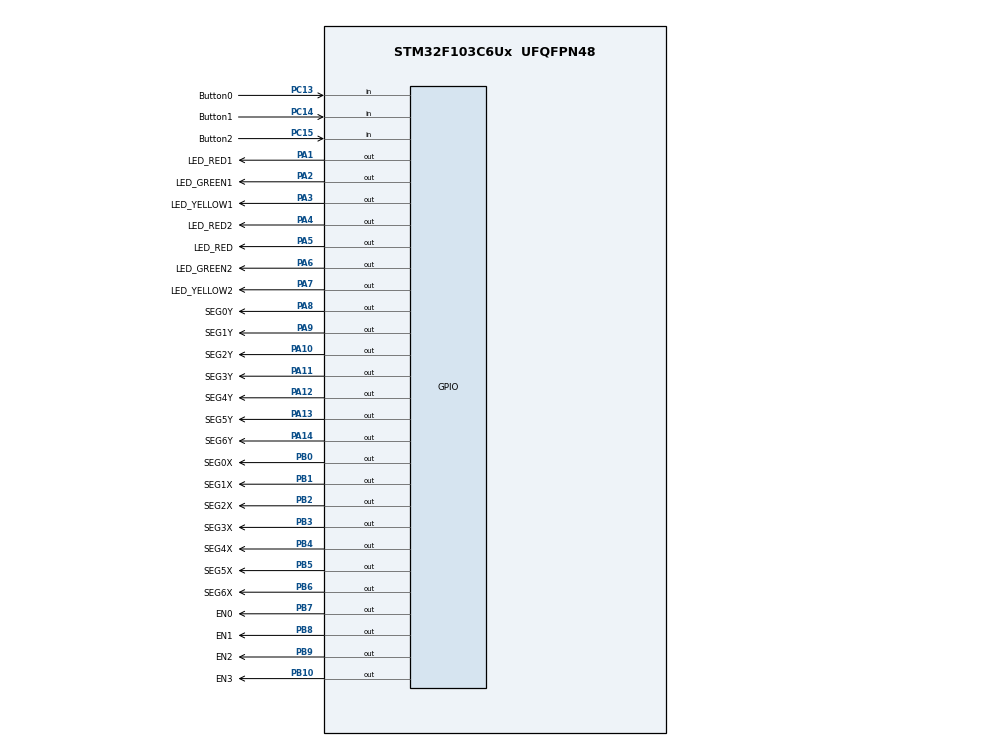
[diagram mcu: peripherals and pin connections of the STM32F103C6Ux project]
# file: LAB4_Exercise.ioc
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Mcu.Family=STM32F1
Mcu.Name=STM32F103C6Ux
Mcu.Package=UFQFPN48
NVIC.PriorityGroup=NVIC_PRIORITYGROUP_4
NVIC.TIM2_IRQn=true\:0\:0\:false\:false\:true\:true\:true
PA1.GPIO_Label=LED_RED1
PA1.Signal=GPIO_Output
PA10.GPIO_Label=SEG2Y
PA10.Signal=GPIO_Output
PA11.GPIO_Label=SEG3Y
PA11.Signal=GPIO_Output
PA12.GPIO_Label=SEG4Y
PA12.Signal=GPIO_Output
PA13.GPIO_Label=SEG5Y
PA13.Signal=GPIO_Output
PA14.GPIO_Label=SEG6Y
PA14.Signal=GPIO_Output
PA2.GPIO_Label=LED_GREEN1
PA2.Signal=GPIO_Output
PA3.GPIO_Label=LED_YELLOW1
PA3.Signal=GPIO_Output
PA4.GPIO_Label=LED_RED2
PA4.Signal=GPIO_Output
PA5.GPIO_Label=LED_RED
PA5.Signal=GPIO_Output
PA6.GPIO_Label=LED_GREEN2
PA6.Signal=GPIO_Output
PA7.GPIO_Label=LED_YELLOW2
PA7.Signal=GPIO_Output
PA8.GPIO_Label=SEG0Y
PA8.Signal=GPIO_Output
PA9.GPIO_Label=SEG1Y
PA9.Signal=GPIO_Output
PB0.GPIO_Label=SEG0X
PB0.Signal=GPIO_Output
PB1.GPIO_Label=SEG1X
PB1.Signal=GPIO_Output
PB10.GPIO_Label=EN3
PB10.Signal=GPIO_Output
PB2.GPIO_Label=SEG2X
PB2.Signal=GPIO_Output
PB3.GPIO_Label=SEG3X
PB3.Signal=GPIO_Output
PB4.GPIO_Label=SEG4X
PB4.Signal=GPIO_Output
PB5.GPIO_Label=SEG5X
PB5.Signal=GPIO_Output
PB6.GPIO_Label=SEG6X
PB6.Signal=GPIO_Output
PB7.GPIO_Label=EN0
PB7.Signal=GPIO_Output
PB8.GPIO_Label=EN1
PB8.Signal=GPIO_Output
PB9.GPIO_Label=EN2
PB9.Signal=GPIO_Output
PC13-TAMPER-RTC.GPIO_Label=Button0
PC13-TAMPER-RTC.GPIO_PuPd=GPIO_PULLUP
PC13-TAMPER-RTC.Signal=GPIO_Input
PC14-OSC32_IN.GPIO_Label=Button1
PC14-OSC32_IN.GPIO_PuPd=GPIO_PULLUP
PC14-OSC32_IN.Signal=GPIO_Input
PC15-OSC32_OUT.GPIO_Label=Button2
PC15-OSC32_OUT.GPIO_PuPd=GPIO_PULLUP
PC15-OSC32_OUT.Signal=GPIO_Input
ProjectManager.HeapSize=0x200
ProjectManager.StackSize=0x400
ProjectManager.TargetToolchain=STM32CubeIDE
RCC.APB1Freq_Value=8000000
RCC.APB2Freq_Value=8000000
TIM2.Period=9
TIM2.Prescaler=7999
VP_SYS_VS_ND.Mode=No_Debug
VP_TIM2_VS_ClockSourceINT.Mode=Internal
board=custom

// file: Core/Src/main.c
/* USER CODE BEGIN Header */
/**
  ******************************************************************************
  * @file           : main.c
  * @brief          : Main program body
  ******************************************************************************
  * @attention
  *
  * <h2><center>&copy; Copyright (c) 2024 STMicroelectronics.
  * All rights reserved.</center></h2>
  *
  * This software component is licensed by ST under BSD 3-Clause license,
  * the "License"; You may not use this file except in compliance with the
  * License. You may obtain a copy of the License at:
  *                        opensource.org/licenses/BSD-3-Clause
  *
  ******************************************************************************
  */
/* USER CODE END Header */
#include "main.h"

/* USER CODE BEGIN Includes */
#include "scheduler.h"
#include "button.h"
#include "fsm_automatic.h"
#include "fsm_manual.h"
#include "fsm_setting.h"
#include "global.h"
#include "software_timer.h"
/* USER CODE END Includes */

TIM_HandleTypeDef htim2;

void SystemClock_Config(void);
static void MX_GPIO_Init(void);
static void MX_TIM2_Init(void);

/* USER CODE BEGIN 0 */
//void led1test(){
//	HAL_GPIO_TogglePin(LED_RED_GPIO_Port, LED_RED_Pin);
//}

/* USER CODE END 0 */

int main(void)
{

  /* MCU Configuration--------------------------------------------------------*/

  /* Reset of all peripherals, Initializes the Flash interface and the Systick. */
  HAL_Init();

  /* Configure the system clock */
  SystemClock_Config();

  /* Initialize all configured peripherals */
  MX_GPIO_Init();
  MX_TIM2_Init();
  /* USER CODE BEGIN 2 */
  HAL_TIM_Base_Start_IT (& htim2 ) ;
  /* USER CODE END 2 */
 //  SCH_Add_Task(led7_segment_run02, 50, 100);
 //  SCH_Add_Task(led7_segment_run13, 0, 100);
  // SCH_Add_Task(fsm_automatic_run, 50, 100);
  /* Infinite loop */
  /* USER CODE BEGIN WHILE */
   status = INIT;
  while (1)
  {

	  fsm_automatic_run();
	  fsm_manual_run();
	  fsm_setting_run();
	  SCH_Dispatch_Tasks();
    /* USER CODE END WHILE */

  }
}

void SystemClock_Config(void)
{
  RCC_OscInitTypeDef RCC_OscInitStruct = {0};
  RCC_ClkInitTypeDef RCC_ClkInitStruct = {0};

  /** Initializes the RCC Oscillators according to the specified parameters
  * in the RCC_OscInitTypeDef structure.
  */
  RCC_OscInitStruct.OscillatorType = RCC_OSCILLATORTYPE_HSI;
  RCC_OscInitStruct.HSIState = RCC_HSI_ON;
  RCC_OscInitStruct.HSICalibrationValue = RCC_HSICALIBRATION_DEFAULT;
  RCC_OscInitStruct.PLL.PLLState = RCC_PLL_NONE;
  if (HAL_RCC_OscConfig(&RCC_OscInitStruct) != HAL_OK)
  {
    Error_Handler();
  }
  /** Initializes the CPU, AHB and APB buses clocks
  */
  RCC_ClkInitStruct.ClockType = RCC_CLOCKTYPE_HCLK|RCC_CLOCKTYPE_SYSCLK
                              |RCC_CLOCKTYPE_PCLK1|RCC_CLOCKTYPE_PCLK2;
  RCC_ClkInitStruct.SYSCLKSource = RCC_SYSCLKSOURCE_HSI;
  RCC_ClkInitStruct.AHBCLKDivider = RCC_SYSCLK_DIV1;
  RCC_ClkInitStruct.APB1CLKDivider = RCC_HCLK_DIV1;
  RCC_ClkInitStruct.APB2CLKDivider = RCC_HCLK_DIV1;

  if (HAL_RCC_ClockConfig(&RCC_ClkInitStruct, FLASH_LATENCY_0) != HAL_OK)
  {
    Error_Handler();
  }
}

static void MX_TIM2_Init(void)
{

  TIM_ClockConfigTypeDef sClockSourceConfig = {0};
  TIM_MasterConfigTypeDef sMasterConfig = {0};

  htim2.Instance = TIM2;
  htim2.Init.Prescaler = 7999;
  htim2.Init.CounterMode = TIM_COUNTERMODE_UP;
  htim2.Init.Period = 9;
  htim2.Init.ClockDivision = TIM_CLOCKDIVISION_DIV1;
  htim2.Init.AutoReloadPreload = TIM_AUTORELOAD_PRELOAD_DISABLE;
  if (HAL_TIM_Base_Init(&htim2) != HAL_OK)
  {
    Error_Handler();
  }
  sClockSourceConfig.ClockSource = TIM_CLOCKSOURCE_INTERNAL;
  if (HAL_TIM_ConfigClockSource(&htim2, &sClockSourceConfig) != HAL_OK)
  {
    Error_Handler();
  }
  sMasterConfig.MasterOutputTrigger = TIM_TRGO_RESET;
  sMasterConfig.MasterSlaveMode = TIM_MASTERSLAVEMODE_DISABLE;
  if (HAL_TIMEx_MasterConfigSynchronization(&htim2, &sMasterConfig) != HAL_OK)
  {
    Error_Handler();
  }

}

static void MX_GPIO_Init(void)
{
  GPIO_InitTypeDef GPIO_InitStruct = {0};

  /* GPIO Ports Clock Enable */
  __HAL_RCC_GPIOC_CLK_ENABLE();
  __HAL_RCC_GPIOA_CLK_ENABLE();
  __HAL_RCC_GPIOB_CLK_ENABLE();

  /*Configure GPIO pin Output Level */
  HAL_GPIO_WritePin(GPIOA, LED_RED1_Pin|LED_GREEN1_Pin|LED_YELLOW1_Pin|LED_RED2_Pin
                          |LED_RED_Pin|LED_GREEN2_Pin|LED_YELLOW2_Pin|SEG0Y_Pin
                          |SEG1Y_Pin|SEG2Y_Pin|SEG3Y_Pin|SEG4Y_Pin
                          |SEG5Y_Pin|SEG6Y_Pin, GPIO_PIN_RESET);

  /*Configure GPIO pin Output Level */
  HAL_GPIO_WritePin(GPIOB, SEG0X_Pin|SEG1X_Pin|SEG2X_Pin|EN3_Pin
                          |SEG3X_Pin|SEG4X_Pin|SEG5X_Pin|SEG6X_Pin
                          |EN0_Pin|EN1_Pin|EN2_Pin, GPIO_PIN_RESET);

  /*Configure GPIO pins : Button0_Pin Button1_Pin Button2_Pin */
  GPIO_InitStruct.Pin = Button0_Pin|Button1_Pin|Button2_Pin;
  GPIO_InitStruct.Mode = GPIO_MODE_INPUT;
  GPIO_InitStruct.Pull = GPIO_PULLUP;
  HAL_GPIO_Init(GPIOC, &GPIO_InitStruct);

  /*Configure GPIO pins : LED_RED1_Pin LED_GREEN1_Pin LED_YELLOW1_Pin LED_RED2_Pin
                           LED_RED_Pin LED_GREEN2_Pin LED_YELLOW2_Pin SEG0Y_Pin
                           SEG1Y_Pin SEG2Y_Pin SEG3Y_Pin SEG4Y_Pin
                           SEG5Y_Pin SEG6Y_Pin */
  GPIO_InitStruct.Pin = LED_RED1_Pin|LED_GREEN1_Pin|LED_YELLOW1_Pin|LED_RED2_Pin
                          |LED_RED_Pin|LED_GREEN2_Pin|LED_YELLOW2_Pin|SEG0Y_Pin
                          |SEG1Y_Pin|SEG2Y_Pin|SEG3Y_Pin|SEG4Y_Pin
                          |SEG5Y_Pin|SEG6Y_Pin;
  GPIO_InitStruct.Mode = GPIO_MODE_OUTPUT_PP;
  GPIO_InitStruct.Pull = GPIO_NOPULL;
  GPIO_InitStruct.Speed = GPIO_SPEED_FREQ_LOW;
  HAL_GPIO_Init(GPIOA, &GPIO_InitStruct);

  /*Configure GPIO pins : SEG0X_Pin SEG1X_Pin SEG2X_Pin EN3_Pin
                           SEG3X_Pin SEG4X_Pin SEG5X_Pin SEG6X_Pin
                           EN0_Pin EN1_Pin EN2_Pin */
  GPIO_InitStruct.Pin = SEG0X_Pin|SEG1X_Pin|SEG2X_Pin|EN3_Pin
                          |SEG3X_Pin|SEG4X_Pin|SEG5X_Pin|SEG6X_Pin
                          |EN0_Pin|EN1_Pin|EN2_Pin;
  GPIO_InitStruct.Mode = GPIO_MODE_OUTPUT_PP;
  GPIO_InitStruct.Pull = GPIO_NOPULL;
  GPIO_InitStruct.Speed = GPIO_SPEED_FREQ_LOW;
  HAL_GPIO_Init(GPIOB, &GPIO_InitStruct);

}

/* USER CODE BEGIN 4 */
 void HAL_TIM_PeriodElapsedCallback ( TIM_HandleTypeDef * htim ){
   SCH_Update();
   getKeyInput();
 }
/* USER CODE END 4 */

void Error_Handler(void)
{
  __disable_irq();
  while (1)
  {
  }
}

/************************ (C) COPYRIGHT STMicroelectronics *****END OF FILE****/
